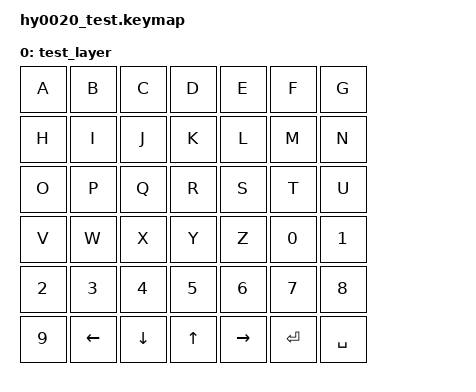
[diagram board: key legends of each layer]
#include <behaviors.dtsi>
#include <dt-bindings/zmk/keys.h>

/ {
    keymap {
        compatible = "zmk,keymap";

        test_layer {
            /* A-Z, 0-9, arrows, Enter and Space: all 42 positions are used. */
            bindings = <
                &kp A     &kp B     &kp C     &kp D     &kp E     &kp F     &kp G
                &kp H     &kp I     &kp J     &kp K     &kp L     &kp M     &kp N
                &kp O     &kp P     &kp Q     &kp R     &kp S     &kp T     &kp U
                &kp V     &kp W     &kp X     &kp Y     &kp Z     &kp N0    &kp N1
                &kp N2    &kp N3    &kp N4    &kp N5    &kp N6    &kp N7    &kp N8
                &kp N9    &kp LEFT  &kp DOWN  &kp UP    &kp RIGHT &kp ENTER &kp SPACE
            >;
        };
    };
};
